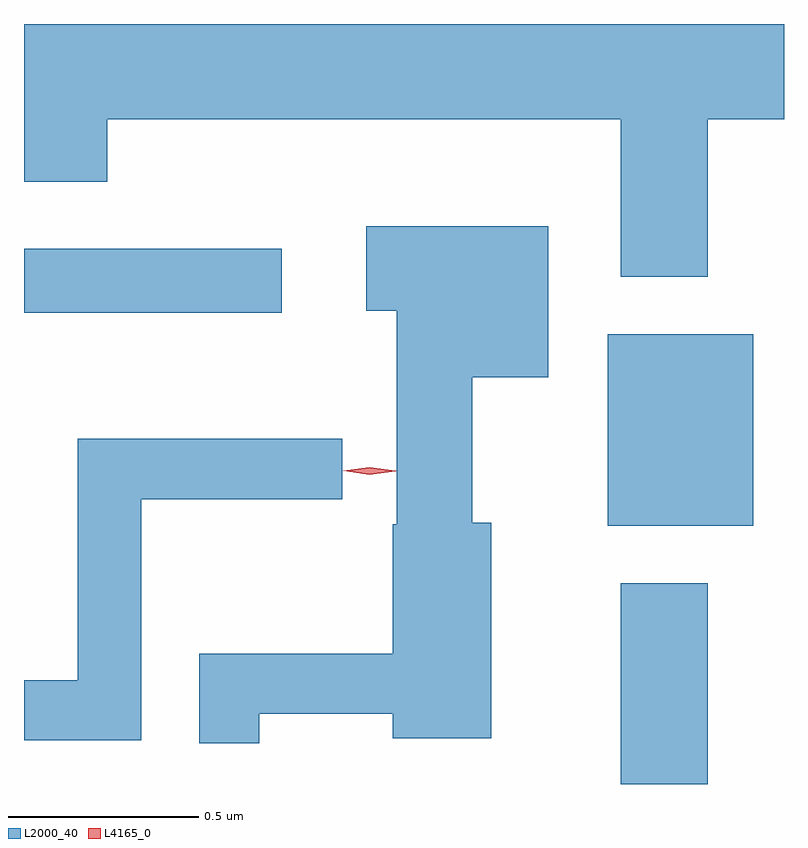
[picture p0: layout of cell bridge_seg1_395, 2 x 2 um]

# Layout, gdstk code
import gdstk
lib = gdstk.Library(unit=1e-6, precision=1e-09)
def R(c, l, rs):  # rectangles x0, y0, x1, y1
    for r in rs: c.add(gdstk.rectangle(r[:2], r[2:], *l))
def P(c, l, *ps):  # polygons
    for p in ps: c.add(gdstk.Polygon(p, *l))
L2000_40 = (2000, 40)
L4165_0 = (4165, 0)

bridge_seg1_395 = lib.new_cell('bridge_seg1_395')
R(bridge_seg1_395, L2000_40, [(947.551,866.746,947.779,867.274), (947.516,867.426,947.899,867.929), (945.98,867.986,946.658,868.154)])
P(bridge_seg1_395, L2000_40, [(947.779,868.496),(947.98,868.496),(947.98,868.746),(945.98,868.746),(945.98,868.331),(946.199,868.331),(946.199,868.496),(947.551,868.496),(947.551,868.081),(947.779,868.081)],
  [(946.599,866.931),(946.951,866.931),(946.951,866.866),(947.209,866.866),(947.209,867.434),(947.159,867.434),(947.159,867.816),(947.359,867.816),(947.359,868.214),(946.881,868.214),(946.881,867.991),(946.961,867.991),(946.961,867.43),(946.951,867.43),(946.951,867.089),(946.441,867.089),(946.441,866.853),(946.599,866.853)],
  [(946.289,867.496),(946.818,867.496),(946.818,867.654),(946.121,867.654),(946.121,867.019),(945.98,867.019),(945.98,866.861),(946.289,866.861)])
P(bridge_seg1_395, L4165_0, [(946.889,867.56),(946.82,867.57),(946.82,867.57),(946.82,867.571),(946.889,867.58),(946.958,867.57),(946.959,867.57),(946.958,867.569)])

lib.write_gds('bridge_seg1_395.gds')
